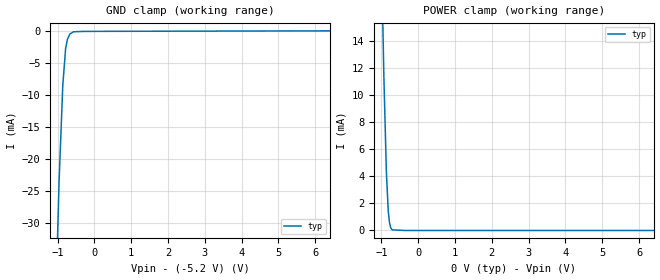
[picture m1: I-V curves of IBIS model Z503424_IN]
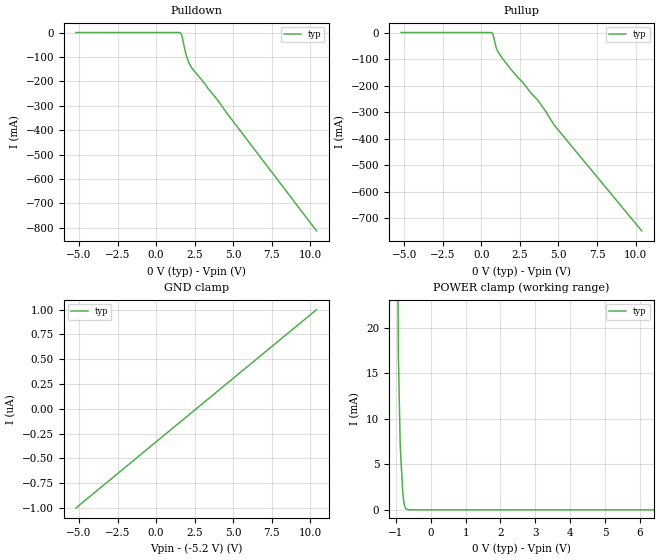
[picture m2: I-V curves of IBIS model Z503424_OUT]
| YOU ARE ONLY AUTHORIZED TO USE THIS SOFTWARE
| ACCORDING TO LICENSOR'S LICENSE RESTRICTIONS.
[IBIS Ver] 3.1
[File Name] mc10el04d.ibs
[File Rev] 2.0
[Source] Measured and created by ICX Technology
[Date] Friday 7/14/00 9:07:50 AM
[Copyright]
| (C) COPYRIGHT 1993-2000
| MENTOR GRAPHICS CORPORATION
| ICX STANDARD LIBRARY, ICX PROJECT MODELING,
| ICX CUSTOM MODELING, ICX VENDOR MODEL
| ALL RIGHTS RESERVED.
| THE FOLLOWING ARE TRADEMARKS OR SERVICE MARKS OF
| MENTOR GRAPHICS CORPORATION:ICX (R), ICX STANDARD
| LIBRARY(R), ICX PROJECT MODELING(R), ICX CUSTOM
| MODELING(R), qualityIBIS(TM), MODELVIEWER(TM),
| AND MODELEDITOR(TM)
| ALL COPIES OF SOFTWARE, INCLUDING BUT NOT LIMITED TO
| ANY MODIFICATIONS, ENHANCEMENTS OR DERIVATIVE WORKS,
| MUST CONTAIN ALL MENTOR GRAPHICS CORPORATION'S
| NOTICES AND LEGENDS, INCLUDING THOSE EMBEDDED IN
| SOFTWARE AND THOSE AFFIXED TO SOFTWARE MEDIUM
| AND CONTAINER, AS RECEIVED FROM MENTOR GRAPHICS
| CORPORATION.
|  ZAP Model Builder 2.7
[Component] MC10EL04D
[Manufacturer] OnSemiconductor
[Package]
| variable   typ   min   max
R_pkg  .152ohms NA NA
L_pkg  2.714nH NA NA
C_pkg  .364pF NA NA
[Pin] signal_name  model_name  R_pin  L_pin C_pin
1 NC NC .154 2.924n .374p
2 D0 Z503424_IN .15 2.504n .354p
3 D1 Z503424_IN .15 2.504n .354p
4 NC NC .154 2.924n .374p
5 VEE POWER .154 2.924n .374p
6 _Q Z503424_OUT .15 2.504n .354p
7 Q Z503424_OUT .15 2.504n .354p
8 VCC POWER .154 2.924n .374p
| Models and submodels in the file (2): Z503424_IN (Input_ECL), Z503424_OUT (Output_ECL)
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| (C) COPYRIGHT 1993-2000
| MENTOR GRAPHICS CORPORATION
| ICX STANDARD LIBRARY, ICX PROJECT MODELING,
| ICX CUSTOM MODELING, ICX VENDOR MODEL
| ALL RIGHTS RESERVED.
| THE FOLLOWING ARE TRADEMARKS OR SERVICE MARKS OF
| MENTOR GRAPHICS CORPORATION:ICX (R), ICX STANDARD
| LIBRARY(R), ICX PROJECT MODELING(R), ICX CUSTOM
| MODELING(R), qualityIBIS(TM), MODELVIEWER(TM),
| AND MODELEDITOR(TM)
| ALL COPIES OF SOFTWARE, INCLUDING BUT NOT LIMITED TO
| ANY MODIFICATIONS, ENHANCEMENTS OR DERIVATIVE WORKS,
| MUST CONTAIN ALL MENTOR GRAPHICS CORPORATION'S
| NOTICES AND LEGENDS, INCLUDING THOSE EMBEDDED IN
| SOFTWARE AND THOSE AFFIXED TO SOFTWARE MEDIUM
| AND CONTAINER, AS RECEIVED FROM MENTOR GRAPHICS
| CORPORATION.
| Model Application Version 1.89 2/18/99.
[Model] Z503424_IN
Model_type Input_ECL
Vinl = -1.480V
Vinh = -1.130V
C_comp 8.000pF NA NA
| variable typ   min   max
[Voltage Range] -5.200V NA NA
[GND Clamp Reference] -5.200V NA NA
[POWER Clamp Reference] 0.000V NA NA
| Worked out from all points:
|   GND clamp passes 1 mA (typ) near -0.71 V on its own axis
|   POWER clamp passes 1 mA (typ) near -0.80 V on its own axis
[GND Clamp]
-5.2V     -931.7mA   NA         NA
-964mV    -24.04mA   NA         NA
-860mV    -8.46mA    NA         NA
-782mV    -2.646mA   NA         NA
-733mV    -1.237mA   NA         NA
-664mV    -418.5uA   NA         NA
-568mV    -81.07uA   NA         NA
-284mV    -18.18uA   NA         NA
10.4V     110.9uA    NA         NA
[POWER Clamp]
-5.2V     1.794A     NA         NA
-1.172V   62.87mA    NA         NA
-1.078V   34.59mA    NA         NA
-1.016V   22.99mA    NA         NA
-932.6mV  11.37mA    NA         NA
-863.6mV  4.264mA    NA         NA
-813.1mV  1.437mA    NA         NA
-781.3mV  609.2uA    NA         NA
-747.1mV  195uA      NA         NA
-705.7mV  45uA       NA         NA
-352.8mV  0A         NA         NA
10.4V     0A         NA         NA
| (C) COPYRIGHT 1993-2000
| MENTOR GRAPHICS CORPORATION
| ICX STANDARD LIBRARY, ICX PROJECT MODELING,
| ICX CUSTOM MODELING, ICX VENDOR MODEL
| ALL RIGHTS RESERVED.
| THE FOLLOWING ARE TRADEMARKS OR SERVICE MARKS OF
| MENTOR GRAPHICS CORPORATION:ICX (R), ICX STANDARD
| LIBRARY(R), ICX PROJECT MODELING(R), ICX CUSTOM
| MODELING(R), qualityIBIS(TM), MODELVIEWER(TM),
| AND MODELEDITOR(TM)
| ALL COPIES OF SOFTWARE, INCLUDING BUT NOT LIMITED TO
| ANY MODIFICATIONS, ENHANCEMENTS OR DERIVATIVE WORKS,
| MUST CONTAIN ALL MENTOR GRAPHICS CORPORATION'S
| NOTICES AND LEGENDS, INCLUDING THOSE EMBEDDED IN
| SOFTWARE AND THOSE AFFIXED TO SOFTWARE MEDIUM
| AND CONTAINER, AS RECEIVED FROM MENTOR GRAPHICS
| CORPORATION.
| Model Application Version 1.89 2/18/99.
[Model] Z503424_OUT
Model_type Output_ECL
Vref=-2.000V
Rref=50.00ohms
Cref=0.000F
Vmeas=-1.305V
C_comp 8.000pF NA NA
| variable typ   min   max
[Voltage Range] -5.200V NA NA
[POWER Clamp Reference] 0.000V NA NA
[Pullup Reference] 0.000V NA NA
[Pulldown Reference] 0.000V NA NA
[GND Clamp Reference] -5.200V NA NA
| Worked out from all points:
|   POWER clamp passes 1 mA (typ) near -0.78 V on its own axis
[GND Clamp]
-5.2V     -1uA       NA         NA
10.4V     1uA        NA         NA
[Pulldown]
-5.2V     118.4uA    NA         NA
1.583V    -1.537mA   NA         NA
1.655V    -8.963mA   NA         NA
1.685V    -15.8mA    NA         NA
1.879V    -74.28mA   NA         NA
1.959V    -93.46mA   NA         NA
2.109V    -121.6mA   NA         NA
2.248V    -138.8mA   NA         NA
4.033V    -280.6mA   NA         NA
4.556V    -327.6mA   NA         NA
10.4V     -812.5mA   NA         NA
[Pullup]
-5.2V     102uA      NA         NA
504.7mV   102uA      NA         NA
725.9mV   -3.262mA   NA         NA
776.3mV   -10.57mA   NA         NA
962.9mV   -57.09mA   NA         NA
1.03V     -66.5mA    NA         NA
1.489V    -106.7mA   NA         NA
1.948V    -140.6mA   NA         NA
3.679V    -256.5mA   NA         NA
4.194V    -298.7mA   NA         NA
4.714V    -347.8mA   NA         NA
10.4V     -747.2mA   NA         NA
[POWER Clamp]
-5.2V     1.779A     NA         NA
-1.119V   134.7mA    NA         NA
-1.031V   86.58mA    NA         NA
-931.5mV  17.05mA    NA         NA
-878.9mV  7.117mA    NA         NA
-805.7mV  1.924mA    NA         NA
-769.1mV  670.9uA    NA         NA
-726.5mV  151.7uA    NA         NA
-648.6mV  11uA       NA         NA
-324.3mV  0A         NA         NA
10.4V     0A         NA         NA
[Ramp]
| variable typ min max
dV/dt_r 486.2m/649.7p NA NA
dV/dt_f 486.2m/537.2p NA NA
R_load = 50.00Ohms
